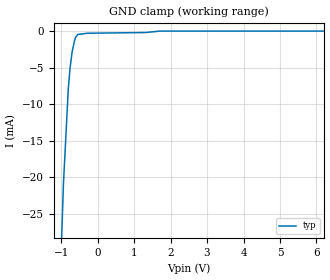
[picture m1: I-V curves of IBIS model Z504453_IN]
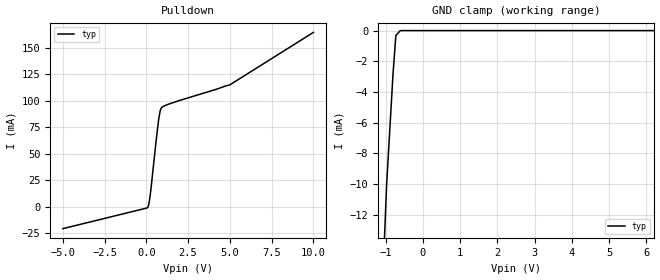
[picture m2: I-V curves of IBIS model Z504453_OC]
| YOU ARE ONLY AUTHORIZED TO USE THIS SOFTWARE
| ACCORDING TO LICENSOR'S LICENSE RESTRICTIONS.
[IBIS Ver] 3.1
[File Name] sn54ls38j.ibs
[File Rev] 2.0
[Source] Measured and created by ICX Technology
[Date] Friday 7/14/00 9:08:15 AM
[Copyright]
| (C) COPYRIGHT 1993-2000
| MENTOR GRAPHICS CORPORATION
| ICX STANDARD LIBRARY, ICX PROJECT MODELING,
| ICX CUSTOM MODELING, ICX VENDOR MODEL
| ALL RIGHTS RESERVED.
| THE FOLLOWING ARE TRADEMARKS OR SERVICE MARKS OF
| MENTOR GRAPHICS CORPORATION:ICX (R), ICX STANDARD
| LIBRARY(R), ICX PROJECT MODELING(R), ICX CUSTOM
| MODELING(R), qualityIBIS(TM), MODELVIEWER(TM),
| AND MODELEDITOR(TM)
| ALL COPIES OF SOFTWARE, INCLUDING BUT NOT LIMITED TO
| ANY MODIFICATIONS, ENHANCEMENTS OR DERIVATIVE WORKS,
| MUST CONTAIN ALL MENTOR GRAPHICS CORPORATION'S
| NOTICES AND LEGENDS, INCLUDING THOSE EMBEDDED IN
| SOFTWARE AND THOSE AFFIXED TO SOFTWARE MEDIUM
| AND CONTAINER, AS RECEIVED FROM MENTOR GRAPHICS
| CORPORATION.
|  ZAP Model Builder 2.7
[Component] SN54LS38J
[Manufacturer] OnSemiconductor
[Package]
| variable   typ   min   max
R_pkg  .21ohms NA NA
L_pkg  4.543nH NA NA
C_pkg  1.8pF NA NA
[Pin] signal_name  model_name  R_pin  L_pin C_pin
1 A Z504453_IN .22 6.757n 2.434p
2 B Z504453_IN .212 4.757n 1.941p
3 Y Z504453_OC .204 3.257n 1.448p
4 A Z504453_IN .196 2.257n .955p
5 B Z504453_IN .204 3.257n 1.448p
6 Y Z504453_OC .212 4.757n 1.941p
7 GND GND .22 6.757n 2.434p
8 Y Z504453_OC .22 6.757n 2.434p
9 A Z504453_IN .212 4.757n 1.941p
10 B Z504453_IN .204 3.257n 1.448p
11 Y Z504453_OC .196 2.257n .955p
12 A Z504453_IN .204 3.257n 1.448p
13 B Z504453_IN .212 4.757n 1.941p
14 VCC POWER .22 6.757n 2.434p
| Models and submodels in the file (2): Z504453_IN (Input), Z504453_OC (Open_sink)
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| (C) COPYRIGHT 1993-2000
| MENTOR GRAPHICS CORPORATION
| ICX STANDARD LIBRARY, ICX PROJECT MODELING,
| ICX CUSTOM MODELING, ICX VENDOR MODEL
| ALL RIGHTS RESERVED.
| THE FOLLOWING ARE TRADEMARKS OR SERVICE MARKS OF
| MENTOR GRAPHICS CORPORATION:ICX (R), ICX STANDARD
| LIBRARY(R), ICX PROJECT MODELING(R), ICX CUSTOM
| MODELING(R), qualityIBIS(TM), MODELVIEWER(TM),
| AND MODELEDITOR(TM)
| ALL COPIES OF SOFTWARE, INCLUDING BUT NOT LIMITED TO
| ANY MODIFICATIONS, ENHANCEMENTS OR DERIVATIVE WORKS,
| MUST CONTAIN ALL MENTOR GRAPHICS CORPORATION'S
| NOTICES AND LEGENDS, INCLUDING THOSE EMBEDDED IN
| SOFTWARE AND THOSE AFFIXED TO SOFTWARE MEDIUM
| AND CONTAINER, AS RECEIVED FROM MENTOR GRAPHICS
| CORPORATION.
| Model Application Version 1.89 2/18/99.
[Model] Z504453_IN
Model_type Input
Vinl = 800.0mV
Vinh = 2.000V
C_comp 4.000pF NA NA
| variable typ   min   max
[Voltage Range] 5.000V NA NA
[GND Clamp Reference] 0.000V NA NA
[POWER Clamp Reference] 5.000V NA NA
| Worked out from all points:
|   GND clamp passes 1 mA (typ) near -0.61 V on its own axis
[GND Clamp]
-5V       -628.7mA   NA         NA
-936.4mV  -20.91mA   NA         NA
-804.7mV  -8mA       NA         NA
-756.3mV  -5.106mA   NA         NA
-699.1mV  -2.858mA   NA         NA
-632.9mV  -1.322mA   NA         NA
-600.4mV  -859uA     NA         NA
-545.3mV  -460.2uA   NA         NA
-272.7mV  -295.3uA   NA         NA
1.328V    -196.6uA   NA         NA
1.704V    -1.343uA   NA         NA
10V       -1.343uA   NA         NA
[POWER Clamp]
-5V       0A         NA         NA
10V       0A         NA         NA
| (C) COPYRIGHT 1993-2000
| MENTOR GRAPHICS CORPORATION
| ICX STANDARD LIBRARY, ICX PROJECT MODELING,
| ICX CUSTOM MODELING, ICX VENDOR MODEL
| ALL RIGHTS RESERVED.
| THE FOLLOWING ARE TRADEMARKS OR SERVICE MARKS OF
| MENTOR GRAPHICS CORPORATION:ICX (R), ICX STANDARD
| LIBRARY(R), ICX PROJECT MODELING(R), ICX CUSTOM
| MODELING(R), qualityIBIS(TM), MODELVIEWER(TM),
| AND MODELEDITOR(TM)
| ALL COPIES OF SOFTWARE, INCLUDING BUT NOT LIMITED TO
| ANY MODIFICATIONS, ENHANCEMENTS OR DERIVATIVE WORKS,
| MUST CONTAIN ALL MENTOR GRAPHICS CORPORATION'S
| NOTICES AND LEGENDS, INCLUDING THOSE EMBEDDED IN
| SOFTWARE AND THOSE AFFIXED TO SOFTWARE MEDIUM
| AND CONTAINER, AS RECEIVED FROM MENTOR GRAPHICS
| CORPORATION.
| Model Application Version 1.89 2/18/99.
[Model] Z504453_OC
Model_type Open_sink
Vref=5.000V
Rref=2.001kohms
Cref=15.00pF
Vmeas=1.300V
C_comp 8.000pF NA NA
| variable typ   min   max
[Voltage Range] 5.000V NA NA
[POWER Clamp Reference] 5.000V NA NA
[Pullup Reference] 5.000V NA NA
[Pulldown Reference] 0.000V NA NA
[GND Clamp Reference] 0.000V NA NA
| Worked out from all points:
|   slope of the pulldown table from 0 to 0.75 V, typ, clamps not added: 8.84 ohm
|   GND clamp passes 1 mA (typ) near -0.74 V on its own axis
[GND Clamp]
-5V       -372.5mA   NA         NA
-1.21V    -27.08mA   NA         NA
-1.045V   -14.46mA   NA         NA
-971.5mV  -10.01mA   NA         NA
-800.5mV  -2.849mA   NA         NA
-723.3mV  -312.2uA   NA         NA
-602.7mV  0A         NA         NA
10V       0A         NA         NA
[Pulldown]
-5V       -20.47mA   NA         NA
48.94mV   -930uA     NA         NA
131.6mV   1.325mA    NA         NA
185.4mV   5.691mA    NA         NA
271.9mV   16.15mA    NA         NA
581.2mV   61.76mA    NA         NA
737.9mV   82.62mA    NA         NA
828.3mV   90.68mA    NA         NA
908.2mV   93.63mA    NA         NA
1.975V    100.4mA    NA         NA
4.978V    115mA      NA         NA
10V       164.7mA    NA         NA
[POWER Clamp]
-5V       0A         NA         NA
10V       0A         NA         NA
[Ramp]
| variable typ min max
dV/dt_r 2.826/23.00n NA NA
dV/dt_f 2.826/5.346n NA NA
R_load = 250.0Ohms
